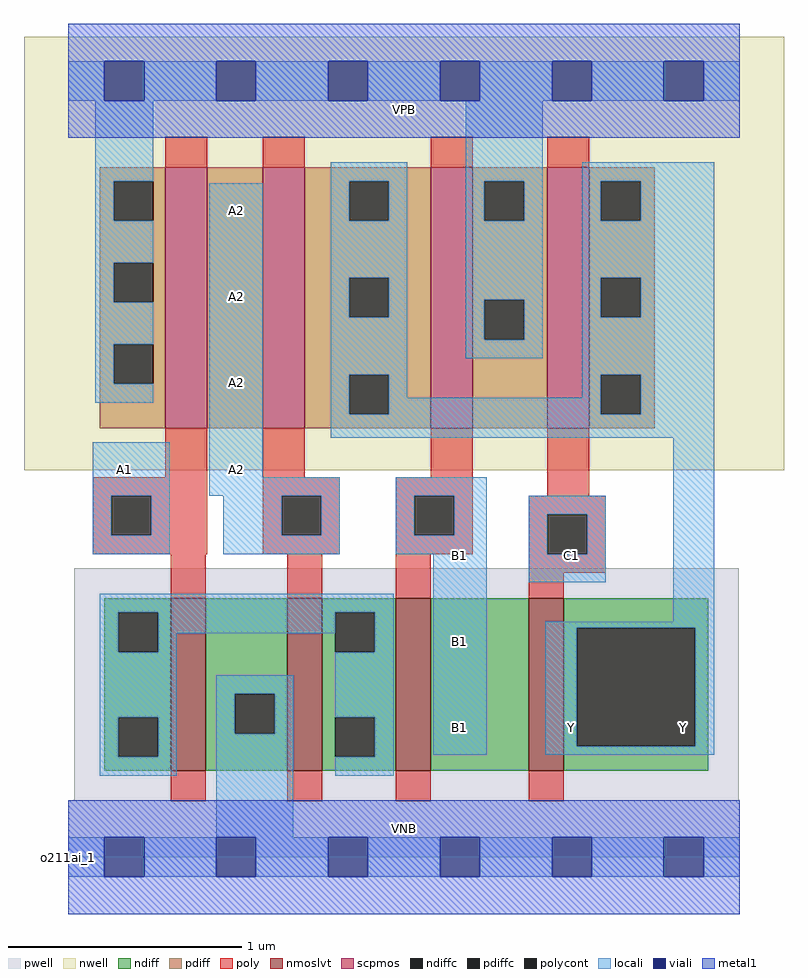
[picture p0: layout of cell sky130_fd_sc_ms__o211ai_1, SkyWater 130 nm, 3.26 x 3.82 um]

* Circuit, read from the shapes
.subckt sky130_fd_sc_ms__o211ai_1 A1 A2 B1 C1 VGND VNB VPB VPWR Y
XM1 VGND A1 n1 VNB sky130_fd_pr__nfet_01v8_lvt w=0.74 l=0.15
XM2 n1 A2 VGND VNB sky130_fd_pr__nfet_01v8_lvt w=0.74 l=0.15
XM3 n2 B1 n1 VNB sky130_fd_pr__nfet_01v8_lvt w=0.74 l=0.15
XM4 Y C1 n2 VNB sky130_fd_pr__nfet_01v8_lvt w=0.74 l=0.15
XM5 n3 A1 VPWR VPB sky130_fd_pr__pfet_01v8 w=1.12 l=0.18
XM6 Y A2 n3 VPB sky130_fd_pr__pfet_01v8 w=1.12 l=0.18
XM7 VPWR B1 Y VPB sky130_fd_pr__pfet_01v8 w=1.12 l=0.18
XM8 Y C1 VPWR VPB sky130_fd_pr__pfet_01v8 w=1.12 l=0.18
.ends

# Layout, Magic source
magic
tech sky130A
magscale 1 2
<< nwell >>
rect -38 332 614 704
<< pwell >>
rect 5 49 575 248
rect 0 0 576 49
<< scpmos >>
rect 83 368 119 592
rect 167 368 203 592
rect 311 368 347 592
rect 411 368 447 592
<< nmoslvt >>
rect 88 74 118 222
rect 188 74 218 222
rect 281 74 311 222
rect 395 74 425 222
<< ndiff >>
rect 31 210 88 222
rect 31 176 43 210
rect 77 176 88 210
rect 31 120 88 176
rect 31 86 43 120
rect 77 86 88 120
rect 31 74 88 86
rect 118 140 188 222
rect 118 106 143 140
rect 177 106 188 140
rect 118 74 188 106
rect 218 210 281 222
rect 218 176 229 210
rect 263 176 281 210
rect 218 120 281 176
rect 218 86 229 120
rect 263 86 281 120
rect 218 74 281 86
rect 311 74 395 222
rect 425 197 549 222
rect 425 95 436 197
rect 538 95 549 197
rect 425 74 549 95
<< pdiff >>
rect 27 580 83 592
rect 27 546 39 580
rect 73 546 83 580
rect 27 510 83 546
rect 27 476 39 510
rect 73 476 83 510
rect 27 440 83 476
rect 27 406 39 440
rect 73 406 83 440
rect 27 368 83 406
rect 119 368 167 592
rect 203 580 311 592
rect 203 546 241 580
rect 275 546 311 580
rect 203 497 311 546
rect 203 463 241 497
rect 275 463 311 497
rect 203 414 311 463
rect 203 380 241 414
rect 275 380 311 414
rect 203 368 311 380
rect 347 580 411 592
rect 347 546 357 580
rect 391 546 411 580
rect 347 478 411 546
rect 347 444 357 478
rect 391 444 411 478
rect 347 368 411 444
rect 447 580 503 592
rect 447 546 457 580
rect 491 546 503 580
rect 447 497 503 546
rect 447 463 457 497
rect 491 463 503 497
rect 447 414 503 463
rect 447 380 457 414
rect 491 380 503 414
rect 447 368 503 380
<< ndiffc >>
rect 43 176 77 210
rect 43 86 77 120
rect 143 106 177 140
rect 229 176 263 210
rect 229 86 263 120
rect 436 95 538 197
<< pdiffc >>
rect 39 546 73 580
rect 39 476 73 510
rect 39 406 73 440
rect 241 546 275 580
rect 241 463 275 497
rect 241 380 275 414
rect 357 546 391 580
rect 357 444 391 478
rect 457 546 491 580
rect 457 463 491 497
rect 457 380 491 414
<< poly >>
rect 83 592 119 618
rect 167 592 203 618
rect 311 592 347 618
rect 411 592 447 618
rect 83 326 119 368
rect 21 310 119 326
rect 21 276 37 310
rect 71 276 119 310
rect 21 260 119 276
rect 167 326 203 368
rect 311 326 347 368
rect 167 310 233 326
rect 167 276 183 310
rect 217 276 233 310
rect 167 260 233 276
rect 281 310 347 326
rect 411 310 447 368
rect 281 276 297 310
rect 331 276 347 310
rect 281 260 347 276
rect 395 294 461 310
rect 395 260 411 294
rect 445 260 461 294
rect 88 222 118 260
rect 188 222 218 260
rect 281 222 311 260
rect 395 244 461 260
rect 395 222 425 244
rect 88 48 118 74
rect 188 48 218 74
rect 281 48 311 74
rect 395 48 425 74
<< polycont >>
rect 37 276 71 310
rect 183 276 217 310
rect 297 276 331 310
rect 411 260 445 294
<< locali >>
rect 0 649 31 683
rect 65 649 127 683
rect 161 649 223 683
rect 257 649 319 683
rect 353 649 415 683
rect 449 649 511 683
rect 545 649 576 683
rect 23 580 73 649
rect 23 546 39 580
rect 225 580 291 596
rect 23 510 73 546
rect 23 476 39 510
rect 23 440 73 476
rect 23 406 39 440
rect 23 390 73 406
rect 21 310 87 356
rect 121 326 167 578
rect 225 546 241 580
rect 275 546 291 580
rect 225 497 291 546
rect 225 463 241 497
rect 275 463 291 497
rect 225 414 291 463
rect 341 580 407 649
rect 341 546 357 580
rect 391 546 407 580
rect 341 478 407 546
rect 341 444 357 478
rect 391 444 407 478
rect 341 428 407 444
rect 441 580 554 596
rect 441 546 457 580
rect 491 546 554 580
rect 441 497 554 546
rect 441 463 457 497
rect 491 463 554 497
rect 225 380 241 414
rect 275 394 291 414
rect 441 414 554 463
rect 441 394 457 414
rect 275 380 457 394
rect 491 380 554 414
rect 225 360 554 380
rect 121 310 233 326
rect 21 276 37 310
rect 71 276 87 310
rect 21 260 87 276
rect 133 276 183 310
rect 217 276 233 310
rect 133 260 233 276
rect 281 310 359 326
rect 281 276 297 310
rect 331 276 359 310
rect 281 260 359 276
rect 27 210 279 226
rect 27 176 43 210
rect 77 192 229 210
rect 77 176 93 192
rect 27 120 93 176
rect 263 176 279 210
rect 27 86 43 120
rect 77 86 93 120
rect 27 70 93 86
rect 127 140 193 156
rect 127 106 143 140
rect 177 106 193 140
rect 127 17 193 106
rect 229 120 279 176
rect 263 86 279 120
rect 313 88 359 260
rect 395 294 461 310
rect 395 260 411 294
rect 445 260 461 294
rect 395 236 461 260
rect 519 202 554 360
rect 409 197 554 202
rect 409 95 436 197
rect 538 95 554 197
rect 409 88 554 95
rect 229 70 279 86
rect 0 -17 31 17
rect 65 -17 127 17
rect 161 -17 223 17
rect 257 -17 319 17
rect 353 -17 415 17
rect 449 -17 511 17
rect 545 -17 576 17
<< viali >>
rect 31 649 65 683
rect 127 649 161 683
rect 223 649 257 683
rect 319 649 353 683
rect 415 649 449 683
rect 511 649 545 683
rect 31 -17 65 17
rect 127 -17 161 17
rect 223 -17 257 17
rect 319 -17 353 17
rect 415 -17 449 17
rect 511 -17 545 17
<< metal1 >>
rect 0 683 576 715
rect 0 649 31 683
rect 65 649 127 683
rect 161 649 223 683
rect 257 649 319 683
rect 353 649 415 683
rect 449 649 511 683
rect 545 649 576 683
rect 0 617 576 649
rect 0 17 576 49
rect 0 -17 31 17
rect 65 -17 127 17
rect 161 -17 223 17
rect 257 -17 319 17
rect 353 -17 415 17
rect 449 -17 511 17
rect 545 -17 576 17
rect 0 -49 576 -17
<< labels >>
flabel pwell s 0 0 576 49 0 FreeSans 200 0 0 0 VNB
port 6 nsew ground bidirectional
flabel nwell s 0 617 576 666 0 FreeSans 200 0 0 0 VPB
port 7 nsew power bidirectional
rlabel comment s 0 0 0 0 4 o211ai_1
flabel metal1 s 0 617 576 666 0 FreeSans 340 0 0 0 VPWR
port 8 nsew power bidirectional
flabel metal1 s 0 0 576 49 0 FreeSans 340 0 0 0 VGND
port 5 nsew ground bidirectional
flabel locali s 319 94 353 128 0 FreeSans 340 0 0 0 B1
port 3 nsew signal input
flabel locali s 319 168 353 202 0 FreeSans 340 0 0 0 B1
port 3 nsew signal input
flabel locali s 319 242 353 276 0 FreeSans 340 0 0 0 B1
port 3 nsew signal input
flabel locali s 415 94 449 128 0 FreeSans 340 0 0 0 Y
port 9 nsew signal output
flabel locali s 511 94 545 128 0 FreeSans 340 0 0 0 Y
port 9 nsew signal output
flabel locali s 415 242 449 276 0 FreeSans 340 0 0 0 C1
port 4 nsew signal input
flabel locali s 127 316 161 350 0 FreeSans 340 0 0 0 A2
port 2 nsew signal input
flabel locali s 127 390 161 424 0 FreeSans 340 0 0 0 A2
port 2 nsew signal input
flabel locali s 127 464 161 498 0 FreeSans 340 0 0 0 A2
port 2 nsew signal input
flabel locali s 127 538 161 572 0 FreeSans 340 0 0 0 A2
port 2 nsew signal input
flabel locali s 31 316 65 350 0 FreeSans 340 0 0 0 A1
port 1 nsew signal input
<< properties >>
string LEFsite unit
string LEFclass CORE
string FIXED_BBOX 0 0 576 666
string GDS_FILE $PDKPATH/libs.ref/sky130_fd_sc_ms/gds/sky130_fd_sc_ms.gds
string LEFsymmetry X Y
string GDS_END 3868692
string GDS_START 3862492
<< end >>
